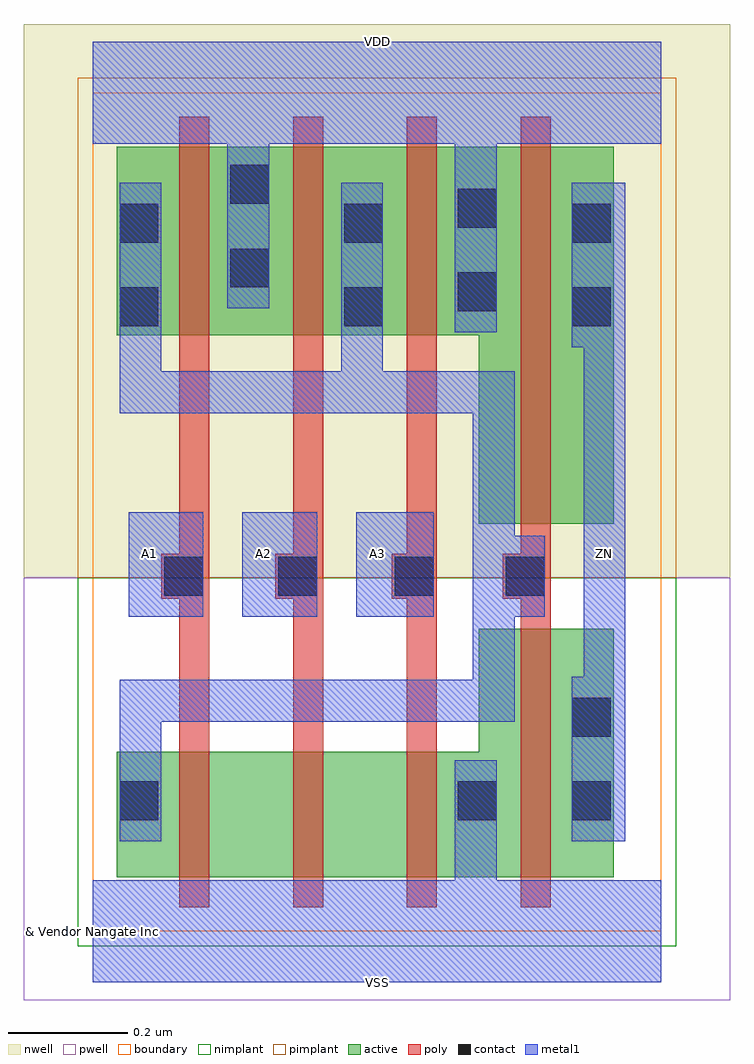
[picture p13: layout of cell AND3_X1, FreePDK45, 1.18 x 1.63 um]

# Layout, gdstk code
import gdstk
lib = gdstk.Library(unit=1e-6, precision=1e-10)
def R(c, l, rs):  # rectangles x0, y0, x1, y1
    for r in rs: c.add(gdstk.rectangle(r[:2], r[2:], *l))
def P(c, l, *ps):  # polygons
    for p in ps: c.add(gdstk.Polygon(p, *l))
active = (1, 0)
pwell = (2, 0)
nwell = (3, 0)
nimplant = (4, 0)
pimplant = (5, 0)
poly = (9, 0)
contact = (10, 0)
metal1 = (11, 0)
boundary = (235, 0)

and3_x1 = lib.new_cell('AND3_X1')
P(and3_x1, active, [(0.04,0.09),(0.87,0.09),(0.87,0.505),(0.645,0.505),(0.645,0.3),(0.04,0.3)],
  [(0.04,0.995),(0.645,0.995),(0.645,0.68),(0.87,0.68),(0.87,1.31),(0.04,1.31)])
R(and3_x1, pwell, [(-0.115,-0.115,1.065,0.59)])
R(and3_x1, nwell, [(-0.115,0.59,1.065,1.515)])
R(and3_x1, nimplant, [(-0.025,-0.025,0.975,0.59)])
R(and3_x1, pimplant, [(-0.025,0.59,0.975,1.425)])
P(and3_x1, poly, [(0.115,0.555),(0.145,0.555),(0.145,0.04),(0.195,0.04),(0.195,1.36),(0.145,1.36),(0.145,0.63),(0.115,0.63)],
  [(0.305,0.555),(0.335,0.555),(0.335,0.04),(0.385,0.04),(0.385,1.36),(0.335,1.36),(0.335,0.63),(0.305,0.63)],
  [(0.5,0.555),(0.525,0.555),(0.525,0.04),(0.575,0.04),(0.575,1.36),(0.525,1.36),(0.525,0.63),(0.5,0.63)],
  [(0.685,0.555),(0.715,0.555),(0.715,0.04),(0.765,0.04),(0.765,1.36),(0.715,1.36),(0.715,0.63),(0.685,0.63)])
R(and3_x1, contact, [(0.045,0.185,0.11,0.25), (0.61,0.185,0.675,0.25), (0.8,0.185,0.865,0.25), (0.8,0.325,0.865,0.39), (0.12,0.56,0.185,0.625), (0.31,0.56,0.375,0.625), (0.505,0.56,0.57,0.625), (0.69,0.56,0.755,0.625), (0.045,1.01,0.11,1.075), (0.42,1.01,0.485,1.075), (0.8,1.01,0.865,1.075), (0.61,1.035,0.675,1.1), (0.23,1.075,0.295,1.14), (0.045,1.15,0.11,1.215), (0.42,1.15,0.485,1.215), (0.8,1.15,0.865,1.215), (0.61,1.175,0.675,1.24), (0.23,1.215,0.295,1.28)])
R(and3_x1, metal1, [(0.06,0.525,0.185,0.7), (0.25,0.525,0.375,0.7), (0.44,0.525,0.57,0.7)])
P(and3_x1, metal1, [(0.045,0.865),(0.635,0.865),(0.635,0.42),(0.045,0.42),(0.045,0.15),(0.115,0.15),(0.115,0.35),(0.705,0.35),(0.705,0.525),(0.755,0.525),(0.755,0.66),(0.705,0.66),(0.705,0.935),(0.485,0.935),(0.485,1.25),(0.415,1.25),(0.415,0.935),(0.115,0.935),(0.115,1.25),(0.045,1.25)],
  [(0.8,0.975),(0.82,0.975),(0.82,0.425),(0.8,0.425),(0.8,0.15),(0.89,0.15),(0.89,1.25),(0.8,1.25)],
  [(0,-0.085),(0.95,-0.085),(0.95,0.085),(0.675,0.085),(0.675,0.285),(0.605,0.285),(0.605,0.085),(0,0.085)],
  [(0,1.315),(0.225,1.315),(0.225,1.04),(0.295,1.04),(0.295,1.315),(0.605,1.315),(0.605,1),(0.675,1),(0.675,1.315),(0.95,1.315),(0.95,1.485),(0,1.485)])
R(and3_x1, boundary, [(0,0,0.95,1.4)])
and3_x1.add(gdstk.Label('A1', (0.095,0.63), layer=11, texttype=0))
and3_x1.add(gdstk.Label('A2', (0.285,0.63), layer=11, texttype=0))
and3_x1.add(gdstk.Label('A3', (0.475,0.63), layer=11, texttype=0))
and3_x1.add(gdstk.Label('VDD', (0.475,1.485), layer=11, texttype=0))
and3_x1.add(gdstk.Label('VSS', (0.475,-0.085), layer=11, texttype=0))
and3_x1.add(gdstk.Label('ZN', (0.855,0.63), layer=11, texttype=0))
and3_x1.add(gdstk.Label('& Vendor Nangate Inc', (0,0), layer=63, texttype=63))
and3_x1.add(gdstk.Label('& Product Open Cell Library', (0,0), layer=63, texttype=63))
and3_x1.add(gdstk.Label('& Version 2010_12', (0,0), layer=63, texttype=63))
and3_x1.add(gdstk.Label('& Instance AND3_X1', (0,0), layer=63, texttype=63))

lib.write_gds('AND3_X1.gds')
